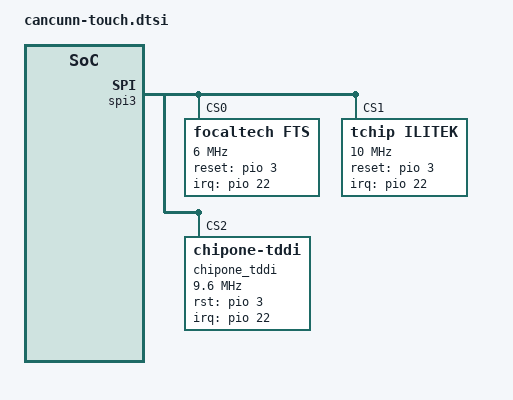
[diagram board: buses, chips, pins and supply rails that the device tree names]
// SPDX-License-Identifier: (GPL-2.0 OR MIT)
/*
 * Copyright (C) 2020 MediaTek Inc.
 */

/* TOUCH start */

&pio {
    ctp_ft8725_pins_default: pins_default {
        };
        ctp_ft8725_spi_mode: spimode_default {
                pins_cmd_dat {
                        pinmux = <PINMUX_GPIO73__FUNC_SPI3_CLK>,
                                <PINMUX_GPIO74__FUNC_SPI3_CSB>,
                                <PINMUX_GPIO75__FUNC_SPI3_MO>,
                                <PINMUX_GPIO76__FUNC_SPI3_MI>;
                        drive-strength = <2>;
                };
        };
};

&spi3 {
    status = "okay";
    mediatek,pad-select = <0>, <1>, <2>;
    pinctrl-names = "default", "ft8725_spi_mode";
    pinctrl-0 = <&ctp_ft8725_pins_default>;
    pinctrl-1 = <&ctp_ft8725_spi_mode>;
    focaltech@0 {
        status = "okay";
        compatible = "focaltech,fts";
        reg = <0>;
        spi-max-frequency = <6000000>;
        interrupt-parent = <&pio>;
        interrupts = <22 IRQ_TYPE_EDGE_FALLING 22 0>;
        focaltech,reset-gpio = <&pio 3 0>;
        focaltech,irq-gpio = <&pio 22 02>;
        focaltech,max-touch-number = <10>;
        focaltech,display-coords =  <0 0 1080 2400>;
        focaltech,report_gesture_key = <59>;
        focaltech,supported_gesture_type = <0x06>;
        focaltech,panel-supplier = "djn";
        focaltech,touch-charger-detect-psy-name = "battery";
        focaltech,touch-charger-detect-psp = "POWER_SUPPLY_PROP_STATUS";
    };

    ilitek@1 {
        status = "okay";
        compatible = "tchip,ilitek";
        reg = <1>;
        spi-max-frequency = <10000000>;
        interrupt-parent = <&pio>;
        interrupts = <22 IRQ_TYPE_EDGE_FALLING 22 0>;
        touch,reset-gpio = <&pio 3 0>;
        touch,irq-gpio = <&pio 22 02>;
        touch,psy-name = "battery";
        ilitek,report_gesture_key;
        ilitek,supported_gesture_type = <0x06>; //bit2-0: double:single:zero tap
    };

    chipone_tddi@2 {
        compatible = "chipone-tddi";
        reg = <2>;
        spi-max-frequency = <9600000>;
        interrupt-parent = <&pio>;
        interrupts = <22 0x2008>;
        chipone,rst-gpio = <&pio 3 0x00>;
        chipone,irq-gpio = <&pio 22 0x00>;
        chipone,x-res = <4320>;
        chipone,y-res = <9600>;

	/* Charger detect*/
	chipone,touch-charger-detect-enable;
	chipone,touch-charger-detect-type = "notify"; /* notify, poll */
	chipone,touch-charger-detect-psy-name = "mtk-master-charger"; /* usb */
	chipone,touch-charger-detect-psp = "POWER_SUPPLY_PROP_ONLINE";
	chipone,touch-charger-detect-psp-poll-interval = <1000>;
	chipone,supported_gesture_type = <0x06>;
    };
};

/* TOUCH end */
